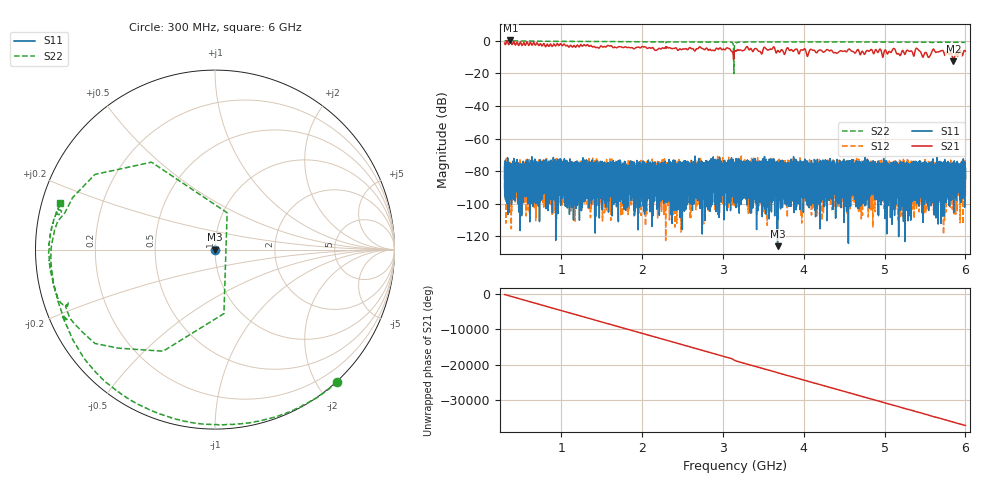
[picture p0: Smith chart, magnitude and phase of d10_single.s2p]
!Agilent Technologies,N5230C,SG49000117,A.08.50.07
!Agilent N5230C: A.08.50.07
!Date: Sunday, March 17, 2024 08:32:10
!Correction: S11(Off)
!S21(Off)
!S12(Off)
!S22(Full 1 Port(2))
!S2P File: Measurements: S11, S21, S12, S22:
# Hz S  RI  R 50
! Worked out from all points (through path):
!   20001 points, 300 MHz to 6 GHz, reference 50 ohm
!   highest |S21| = 0.23 dB at 371.5 MHz (marker M1); lowest = -12.5 dB at 5.851 GHz (marker M2)
!   lowest |S11| = -125.9 dB at 3.676 GHz (marker M3), VSWR 1.00, Z = 50 + j5.03e-05 ohm
!   |S11| at or under -10 dB: start of sweep to end of sweep
!   |S22| runs from -20.1 to 0.1 dB; largest |S21 - S12| = 1
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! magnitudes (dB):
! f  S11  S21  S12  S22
! 300 MHz  -77.1  -1.4  -82.6  0.0
! 371.5 MHz  -81.8  0.2  -82.2  0.0
! 1.25 GHz  -84.2  -2.7  -91.9  -0.4
! 2.2 GHz  -81.4  -4.9  -87.6  -0.6
! 3.062 GHz  -88.9  -4.6  -80.5  -0.8
! 3.15 GHz  -88.9  -6.0  -100.3  -1.4
! 3.296 GHz  -82.1  -3.5  -85.1  -0.7
! 3.465 GHz  -88.4  -6.7  -84.4  -0.7
! 3.617 GHz  -78.2  -4.4  -93.1  -0.7
! 3.676 GHz  -125.9  -6.0  -84.0  -0.7
! 3.994 GHz  -93.6  -5.6  -89.3  -0.7
! 4.051 GHz  -84.8  -9.3  -81.7  -0.7
! 4.1 GHz  -79.3  -5.5  -87.7  -0.7
! 5.05 GHz  -77.2  -6.8  -81.8  -0.8
! 5.113 GHz  -78.8  -4.6  -81.9  -0.8
! 5.175 GHz  -91.8  -7.9  -82.9  -0.8
! 5.35 GHz  -77.2  -8.0  -79.4  -0.8
! 5.407 GHz  -84.8  -4.9  -84.3  -0.8
! 5.472 GHz  -77.3  -10.0  -88.6  -0.8
! 5.703 GHz  -84.1  -6.0  -79.2  -0.9
! 5.851 GHz  -85.8  -12.5  -93.0  -0.9
! 6 GHz  -78.0  -6.3  -83.7  -0.9
